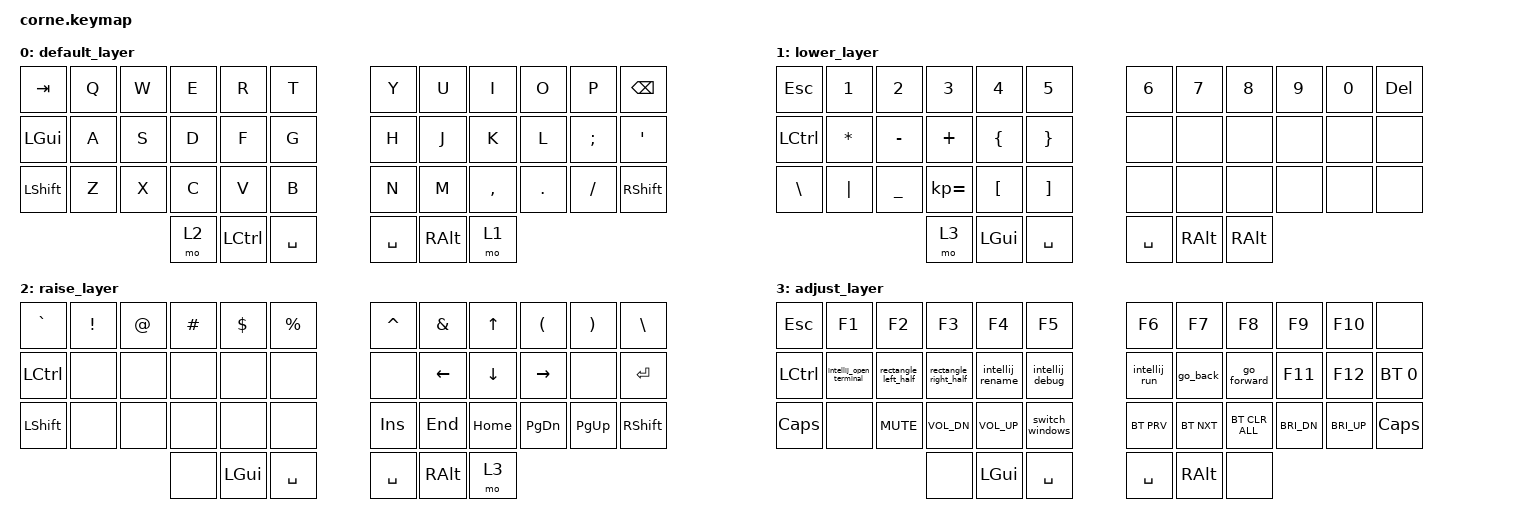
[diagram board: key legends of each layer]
/*
 * Copyright (c) 2020 The ZMK Contributors
 *
 * SPDX-License-Identifier: MIT
 */

#include <behaviors.dtsi>
#include <dt-bindings/zmk/keys.h>
#include <dt-bindings/zmk/bt.h>

/ {
    macros {
        intellij_open_terminal: intellij_open_terminal {
            label = "intellj_open_terminal";
            compatible = "zmk,behavior-macro";
            #binding-cells = <0>;
            bindings
                = <&macro_press &kp LALT >
                , <&macro_tap &kp F12 >
                , <&macro_release &kp LALT >
                ;
        };
        intellij_rename: intellij_rename {
            label = "intellij_rename";
            compatible = "zmk,behavior-macro";
            #binding-cells = <0>;
            bindings
                = <&macro_press &kp LSHFT >
                , <&macro_tap &kp F6 >
                , <&macro_release &kp LSHFT >
                ;
        };
        intellij_debug: intellij_debug {
            label = "intellij_debug";
            compatible = "zmk,behavior-macro";
            #binding-cells = <0>;
            bindings
                = <&macro_press &kp LCTRL &kp LSHFT >
                , <&macro_tap &kp D >
                , <&macro_release &kp LCTRL &kp LSHFT >
                ;
        };
        intellij_run: intellij_run {
            label = "intellij_run";
            compatible = "zmk,behavior-macro";
            #binding-cells = <0>;
            bindings
                = <&macro_press &kp LCTRL &kp LSHFT >
                , <&macro_tap &kp R >
                , <&macro_release &kp LCTRL &kp LSHFT >
                ;
        };
        rectangle_left_half: rectangle_left_half {
            label = "rectangle_left_half";
            compatible = "zmk,behavior-macro";
            #binding-cells = <0>;
            bindings
                = <&macro_press &kp LALT &kp LGUI >
                , <&macro_tap &kp LEFT >
                , <&macro_release &kp LALT &kp LGUI >
                ;
        };
        rectangle_right_half: rectangle_right_half {
            label = "rectangle_right_half";
            compatible = "zmk,behavior-macro";
            #binding-cells = <0>;
            bindings
                = <&macro_press &kp LALT &kp LGUI >
                , <&macro_tap &kp RIGHT >
                , <&macro_release &kp LALT &kp LGUI >
                ;
        };
        go_back: go_back {
            label = "go_back";
            compatible = "zmk,behavior-macro";
            #binding-cells = <0>;
            bindings
                = <&macro_press &kp LGUI >
                , <&macro_tap &kp LBKT >
                , <&macro_release &kp LGUI >
                ;
        };
        go_forward: go_forward {
            label = "go_forward";
            compatible = "zmk,behavior-macro";
            #binding-cells = <0>;
            bindings
                = <&macro_press &kp LGUI >
                , <&macro_tap &kp RBKT >
                , <&macro_release &kp LGUI >
                ;
        };
        switch_windows: switch_windows {
            label = "switch_windows";
            compatible = "zmk,behavior-macro";
            #binding-cells = <0>;
            bindings
                = <&macro_press &kp LGUI >
                , <&macro_tap &kp GRAVE >
                , <&macro_release &kp LGUI >
                ;
        };
    };

    keymap {
        compatible = "zmk,keymap";
            default_layer {
// -----------------------------------------------------------------------------------------
// | TAB  |  Q  |  W  |  E  |  R  |  T  |   |  Y  |  U  |  I  |  O  |  P  | BKSP |
// | GUI |  A  |  S  |  D  |  F  |  G  |   |  H  |  J  |  K  |  L  |  ;  |  '   |
// | SHFT |  Z  |  X  |  C  |  V  |  B  |   |  N  |  M  |  ,  |  .  |  /  | SHFT  |
//                   | RSE | CTRL | SPC |   | SPC | ALT | LWR |
                bindings = <
   &kp TAB   &kp Q &kp W &kp E    &kp R    &kp T         &kp Y &kp U  &kp I     &kp O   &kp P    &kp BSPC
   &kp LGUI &kp A &kp S &kp D    &kp F    &kp G         &kp H &kp J  &kp K     &kp L   &kp SEMI &kp SQT
   &kp LSHFT &kp Z &kp X &kp C    &kp V    &kp B         &kp N &kp M  &kp COMMA &kp DOT &kp FSLH &kp RSHFT
                    &mo 2 &kp LCTRL &kp SPACE                 &kp SPACE &kp RALT &mo 1
                        >;
                };
            lower_layer {
// -----------------------------------------------------------------------------------------
// |  ESC  |   1   |   2   |     3     |   4   |  5   |   |  6  |  7  |  8  |  9  |  0  | DEL |
// | LCTRL | ASTRK | MINUS |   PLUS    | LBRC  | RBRC |   |     |     |     |     |     |     |
// | BSLH  | PIPE  | UNDER |  KP_EQUAL | LBKT  | RBKT |   |     |     |     |     |     |     |
//                                  | ADJ | GUI | SPC |   | SPC | ALT | ALT |
                bindings = <
   &kp ESC   &kp N1    &kp N2    &kp N3       &kp N4   &kp N5         &kp N6   &kp N7   &kp N8 &kp N9 &kp N0 &kp DEL
   &kp LCTRL &kp ASTRK &kp MINUS &kp PLUS     &kp LBRC &kp RBRC       &none    &none    &none  &none  &none  &none
   &kp BSLH  &kp PIPE  &kp UNDER &kp KP_EQUAL &kp LBKT &kp RBKT       &none    &none    &none  &none  &none  &none
                                  &mo 3 &kp LGUI  &kp SPACE               &kp SPACE  &kp RALT  &kp RALT
                        >;
                };

                raise_layer {
// -----------------------------------------------------------------------------------------
// | GRAVE |  !  |  @  |  #  |  $  |  %  |   |  ^  |  &   |  UP  |   (   |   )   | BSLH  |
// | CTRL  |     |     |     |     |     |   |     | LEFT | DOWN | RIGH* |       | ENT   |
// | LSHFT |     |     |     |     |     |   | INS | END  | HOME | PG_DN | PG_UP | RSHFT |
//                     | GUI |     | SPC |   | ENT |     | ALT |
                        bindings = <
   &kp GRAVE &kp EXCL &kp AT &kp HASH &kp DLLR &kp PRCNT        &kp CARET &kp AMPS &kp UP   &kp LPAR  &kp RPAR   &kp BSLH
   &kp LCTRL &none    &none  &none    &none    &none            &none     &kp LEFT &kp DOWN &kp RIGHT &none      &kp RET
   &kp LSHFT &none    &none  &none    &none    &none            &kp INS   &kp END  &kp HOME  &kp PG_DN &kp PG_UP &kp RSHFT
                  &none    &kp LGUI    &kp SPACE                    &kp SPACE    &kp RALT    &mo 3
                        >;
                };

                adjust_layer {
// -----------------------------------------------------------------------------------------
// | ESC  |      F1       |    F2     |    F3      |   F4   |      F5       |   |  F6    |  F7    |   F8       |   F9   |  F10  |          |
// | CTRL | OPEN_TERMINAL | LEFT_HALF | RIGHT_HALF | RENAME |     DEBUG     |   | RUN    | BACK   | FORWARD    |   F11  |  F12  | BT_SEL 0 |
// | CAPS |               |   MUTE    |  VOL_DWN   | VOL_UP | SWITCH_WINDOW |   | BT_PRV | BT_NXT | BT_CLR_ALL | BRI_DN | BR_UP | CAPS     |
//                                    |            |  GUI   |      SPC      |   | SPC    | ALT    |            |
                        bindings = <
   &kp ESC   &kp F1                   &kp F2               &kp F3                &kp F4           &kp F5                     &kp F6        &kp F7       &kp F8          &kp F9       &kp F10      &none
   &kp LCTRL &intellij_open_terminal  &rectangle_left_half &rectangle_right_half &intellij_rename &intellij_debug            &intellij_run &go_back     &go_forward     &kp F11      &kp F12      &bt BT_SEL 0
   &kp CAPS &none                     &kp C_MUTE           &kp C_VOL_DN          &kp C_VOL_UP     &switch_windows            &bt BT_PRV    &bt BT_NXT   &bt BT_CLR_ALL  &kp C_BRI_DN &kp C_BRI_UP &kp CAPS
                                               &none    &kp LGUI    &kp SPACE                                                &kp SPACE         &kp RALT    &none
                        >;
                };
        };
};
